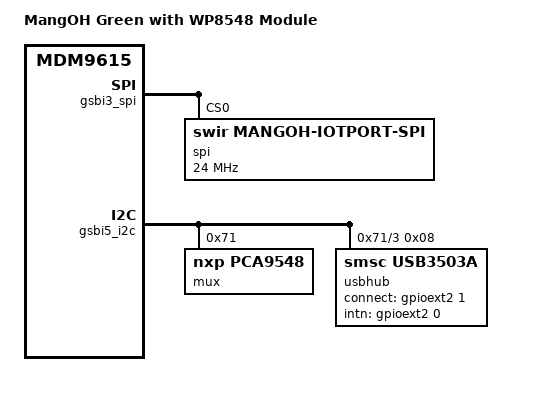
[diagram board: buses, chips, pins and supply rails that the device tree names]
// SPDX-License-Identifier: GPL-2.0+ OR MIT
/*
 * Device Tree Source for mangOH Green Board with WP8548 Module
 *
 * Copyright (C) 2016 BayLibre, SAS.
 * Author : Neil Armstrong <narmstrong@baylibre.com>
 */

#include <dt-bindings/gpio/gpio.h>
#include <dt-bindings/input/input.h>
#include <dt-bindings/interrupt-controller/irq.h>

#include "qcom-mdm9615-wp8548.dtsi"

/ {
	model = "MangOH Green with WP8548 Module";
	compatible = "swir,mangoh-green-wp8548", "swir,wp8548", "qcom,mdm9615";

	aliases {
		spi0 = &gsbi3_spi;
		serial0 = &gsbi4_serial;
		serial1 = &gsbi5_serial;
		i2c0 = &gsbi5_i2c;
		mmc0 = &sdcc1;
	};

	chosen {
		stdout-path = "serial1:115200n8";
	};
};

&msmgpio {
	/* MangOH GPIO Mapping :
	 * - 2 : GPIOEXP_INT2
	 * - 7 : IOT1_GPIO2
	 * - 8 : IOT0_GPIO4
	 * - 13: IOT0_GPIO3
	 * - 21: IOT1_GPIO4
	 * - 22: IOT2_GPIO1
	 * - 23: IOT2_GPIO2
	 * - 24: IOT2_GPIO3
	 * - 25: IOT1_GPIO1
	 * - 32: IOT1_GPIO3
	 * - 33: IOT0_GPIO2
	 * - 42: IOT0_GPIO1 and SD Card Detect
	 */

	gpioext1_pins: gpioext1-state {
		gpioext1-pins {
			pins = "gpio2";
			function = "gpio";
			bias-disable;
		};
	};

	sdc_cd_pins: sdc-cd-state {
		sdc-cd-pins {
			pins = "gpio42";
			function = "gpio";
			drive-strength = <2>;
			bias-pull-up;
		};
	};
};

&gsbi3_spi {
	spi@0 {
		compatible = "swir,mangoh-iotport-spi";
		spi-max-frequency = <24000000>;
		reg = <0>;
	};
};

&gsbi5_i2c {
	mux@71 {
		compatible = "nxp,pca9548";
		#address-cells = <1>;
		#size-cells = <0>;
		reg = <0x71>;

		i2c_iot0: i2c@0 {
			#address-cells = <1>;
			#size-cells = <0>;
			reg = <0>;
		};

		i2c_iot1: i2c@1 {
			#address-cells = <1>;
			#size-cells = <0>;
			reg = <1>;
		};

		i2c_iot2: i2c@2 {
			#address-cells = <1>;
			#size-cells = <0>;
			reg = <2>;
		};

		i2c@3 {
			#address-cells = <1>;
			#size-cells = <0>;
			reg = <3>;

			usbhub: hub@8 {
				compatible = "smsc,usb3503a";
				reg = <0x8>;
				connect-gpios = <&gpioext2 1 GPIO_ACTIVE_HIGH>;
				intn-gpios = <&gpioext2 0 GPIO_ACTIVE_HIGH>;
				initial-mode = <1>;
			};
		};

		i2c@4 {
			#address-cells = <1>;
			#size-cells = <0>;
			reg = <4>;

			gpioext0: pinctrl@3e {
				/* GPIO Expander 0 Mapping :
				 * - 0: ARDUINO_RESET_Level shift
				 * - 1: BattChrgr_PG_N
				 * - 2: BattGauge_GPIO
				 * - 3: LED_ON (out active high)
				 * - 4: ATmega_reset_GPIO
				 * - 5: X
				 * - 6: PCM_ANALOG_SELECT (out active high)
				 * - 7: X
				 * - 8: Board_rev_res1 (in)
				 * - 9: Board_rev_res2 (in)
				 * - 10: UART_EXP1_ENn (out active low / pull-down)
				 * - 11: UART_EXP1_IN (out pull-down)
				 * - 12: UART_EXP2_IN (out pull-down)
				 * - 13: SDIO_SEL (out pull-down)
				 * - 14: SPI_EXP1_ENn (out active low / pull-down)
				 * - 15: SPI_EXP1_IN (out pull-down)
				 */
				#gpio-cells = <2>;
				#interrupt-cells = <2>;
				compatible = "semtech,sx1509q";
				reg = <0x3e>;
				interrupt-parent = <&gpioext1>;
				interrupts = <0 IRQ_TYPE_EDGE_FALLING>;

				semtech,probe-reset;

				gpio-controller;
				interrupt-controller;
			};
		};

		i2c@5 {
			#address-cells = <1>;
			#size-cells = <0>;
			reg = <5>;

			gpioext1: pinctrl@3f {
				/* GPIO Expander 1 Mapping :
				 * - 0: GPIOEXP_INT1
				 * - 1: Battery detect
				 * - 2: GPIO_SCF3_RESET
				 * - 3: LED_CARD_DETECT_IOT0 (in)
				 * - 4: LED_CARD_DETECT_IOT1 (in)
				 * - 5: LED_CARD_DETECT_IOT2 (in)
				 * - 6: UIM2_PWM_SELECT
				 * - 7: UIM2_M2_S_SELECT
				 * - 8: TP900
				 * - 9: SENSOR_INT1 (in)
				 * - 10: SENSOR_INT2 (in)
				 * - 11: CARD_DETECT_IOT0 (in pull-up)
				 * - 12: CARD_DETECT_IOT2 (in pull-up)
				 * - 13: CARD_DETECT_IOT1 (in pull-up)
				 * - 14: GPIOEXP_INT3 (in active low / pull-up)
				 * - 15: BattChrgr_INT_N
				 */
				pinctrl-0 = <&gpioext1_pins>;
				pinctrl-names = "default";

				#gpio-cells = <2>;
				#interrupt-cells = <2>;
				compatible = "semtech,sx1509q";
				reg = <0x3f>;
				interrupt-parent = <&msmgpio>;
				interrupts = <0 IRQ_TYPE_EDGE_FALLING>;

				semtech,probe-reset;

				gpio-controller;
				interrupt-controller;
			};
		};

		i2c@6 {
			#address-cells = <1>;
			#size-cells = <0>;
			reg = <6>;

			gpioext2: pinctrl@70 {
				/* GPIO Expander 2 Mapping :
				 * - 0: USB_HUB_INTn
				 * - 1: HUB_CONNECT
				 * - 2: GPIO_IOT2_RESET (out active low / pull-up)
				 * - 3: GPIO_IOT1_RESET (out active low / pull-up)
				 * - 4: GPIO_IOT0_RESET (out active low / pull-up)
				 * - 5: TP901
				 * - 6: TP902
				 * - 7: TP903
				 * - 8: UART_EXP2_ENn (out active low / pull-down)
				 * - 9: PCM_EXP1_ENn (out active low)
				 * - 10: PCM_EXP1_SEL (out)
				 * - 11: ARD_FTDI
				 * - 12: TP904
				 * - 13: TP905
				 * - 14: TP906
				 * - 15: RS232_Enable (out active high / pull-up)
				 */
				#gpio-cells = <2>;
				#interrupt-cells = <2>;
				compatible = "semtech,sx1509q";
				reg = <0x70>;
				interrupt-parent = <&gpioext1>;
				interrupts = <14 IRQ_TYPE_EDGE_FALLING>;

				semtech,probe-reset;

				gpio-controller;
				interrupt-controller;
			};
		};

		i2c@7 {
			#address-cells = <1>;
			#size-cells = <0>;
			reg = <7>;
		};
	};
};

&sdcc1 {
	pinctrl-0 = <&sdc_cd_pins>;
	pinctrl-names = "default";
	disable-wp;
	cd-gpios = <&msmgpio 42 GPIO_ACTIVE_LOW>; /* Active low CD */
};
